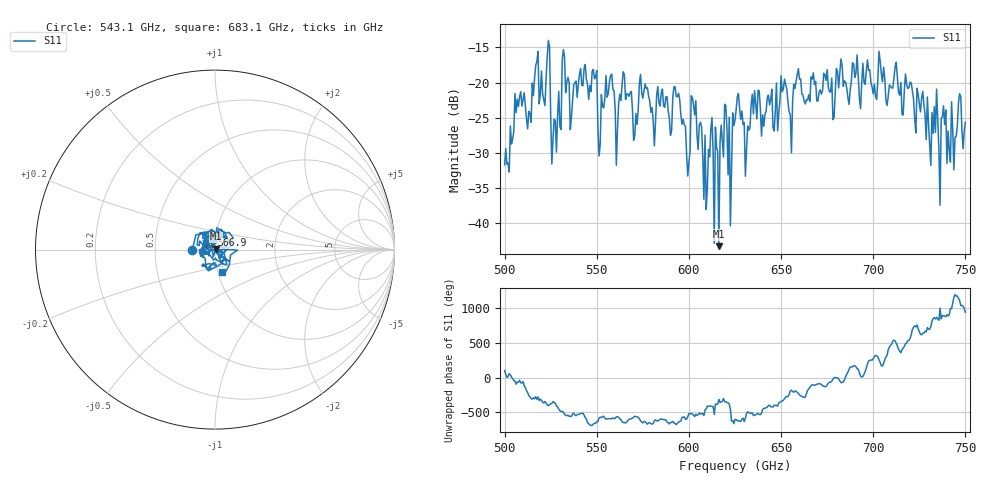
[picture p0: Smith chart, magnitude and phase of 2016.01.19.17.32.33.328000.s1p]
!Created with skrf (http://scikit-rf.org).
# GHz S RI R 50.0
!freq ReS11 ImS11
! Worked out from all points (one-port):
!   401 points, 500 GHz to 750 GHz, reference 50 ohm
!   lowest |S11| = -43.3 dB at 616.2 GHz (marker M1), VSWR 1.01, Z = 50.5 + j0.501 ohm
!   |S11| at or under -10 dB: start of sweep to end of sweep
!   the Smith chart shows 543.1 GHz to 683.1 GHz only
!   S11 on the Smith chart (normalised r, x): 543.1 GHz: 0.78, +0.00; 566.9 GHz: 0.95, +0.15; 683.1 GHz: 1.05, -0.27
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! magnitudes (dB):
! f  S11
! 500 GHz  -31.7
! 516.9 GHz  -17.5
! 523.8 GHz  -14.0
! 526.9 GHz  -25.2
! 531.2 GHz  -16.9
! 543.1 GHz  -18.0
! 548.8 GHz  -19.5
! 551.9 GHz  -28.8
! 556.2 GHz  -21.6
! 562.5 GHz  -21.7
! 566.9 GHz  -21.6
! 593.8 GHz  -22.0
! 599.4 GHz  -33.3
! 602.5 GHz  -23.2
! 608.8 GHz  -27.5
! 611.9 GHz  -26.7
! 616.2 GHz  -43.3
! 618.8 GHz  -30.6
! 622.5 GHz  -40.4
! 625 GHz  -25.4
! 631.9 GHz  -26.2
! 636.9 GHz  -25.2
! 656.2 GHz  -22.7
! 683.1 GHz  -17.6
! 687.5 GHz  -21.0
! 718.8 GHz  -20.8
! 730 GHz  -25.9
! 750 GHz  -25.6
